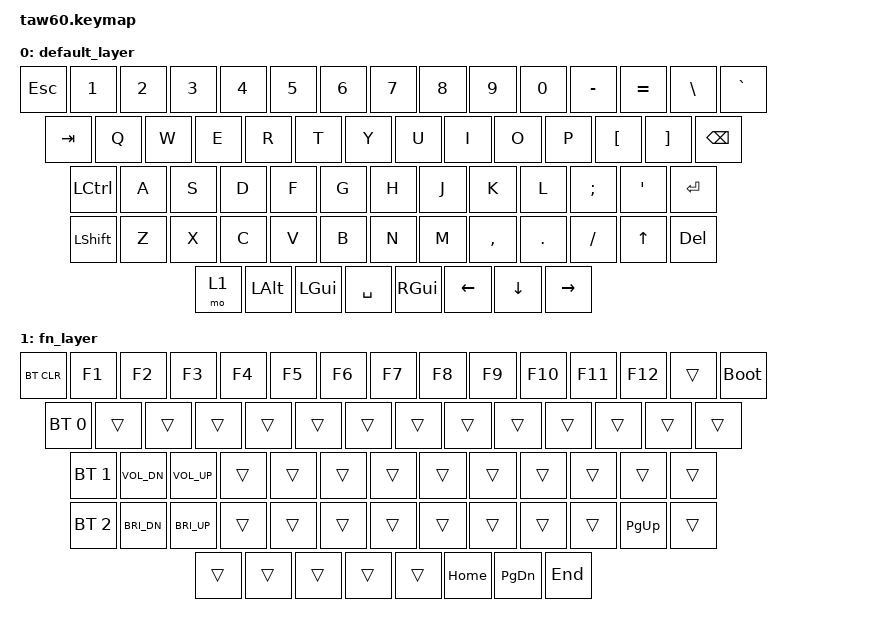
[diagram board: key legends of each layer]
/*
 * Copyright (c) 2021 The ZMK Contributors
 *
 * SPDX-License-Identifier: MIT
 */

#include <behaviors.dtsi>
#include <dt-bindings/zmk/keys.h>
#include <dt-bindings/zmk/bt.h>

/ {
      keymap {
          compatible = "zmk,keymap";

      default_layer {
				// ------------------------------------------------------------------------------------------
				// | ESC |  1  |  2  |  3  |  4  |  5  |  6  |  7  |  8  |  9  |  0  |  -  |  =  |  \  |  `  |
				// | TAB  |  Q  |  W  |  E  |  R  |  T  |  Y  |  U  |  I  |  O  |  P  |  [  |  ]  |   BKSP   |
				// |  CTL  |  A  |  S  |  D  |  F  |  G  |  H  |  J  |  K  |  L  |  ;  |  '  |     ENTER     |
				// |  SHIFT  |  Z  |  X  |  C  |  V  |  B  |  N  |  M  |  ,  |  .  |  /  |     UP    |  DEL  |
				// |  FN  | ALT |  WIN  |              SPACE                 |   WIN    |  LT  |  DN  |  RT  |
				// ------------------------------------------------------------------------------------------
			bindings = <
				&kp ESC &kp N1 &kp N2 &kp N3 &kp N4 &kp N5 &kp N6 &kp N7 &kp N8 &kp N9 &kp N0 &kp MINUS &kp EQUAL &kp BSLH &kp GRAVE
				&kp TAB  &kp Q  &kp W  &kp E  &kp R  &kp T  &kp Y  &kp U  &kp  I  &kp  O  &kp  P  &kp  LBKT  &kp  RBKT  &kp  BSPC
				&kp LCTRL  &kp A  &kp S  &kp D  &kp F  &kp G  &kp H  &kp J  &kp  K   &kp  L  &kp  SEMI  &kp  SQT  &kp  RET
				&kp LSHFT   &kp Z  &kp X  &kp C  &kp V  &kp B  &kp N  &kp M  &kp COMMA &kp DOT &kp FSLH &kp UP &kp DEL
		   	&mo 1 	&kp LALT 	&kp LGUI            &kp SPACE                          &kp RGUI  &kp LEFT &kp DOWN &kp RIGHT
			>;
		};

    fn_layer {
		// ----------------------------------------------------------------------------------------------
		//  BT CLR | F1  | F2  | F3  | F4  | F5  | F6  | F7  | F8  | F9  | F10  | F11 | F12 |     | BOOT|
		// |   BT 1  |     |     |     |     |     |     |     |     |     |     |     |     |          |
		// |   BT2    |VL-DN|VL-UP|     |     |     |     |     |     |     |     |     |               |
		// |    BT3     |BR-DN|BR-UP|     |     |     |     |     |     |     |     |  PG-UP   |        |
		// |         |     |       |                                    |          | HOME |PG-DN | END  |
		// ----------------------------------------------------------------------------------------------
			bindings = <
				&bt BT_CLR &kp F1 &kp F2 &kp F3 &kp F4 &kp F5 &kp F6 &kp F7 &kp  F8   &kp  F9 &kp  F10  &kp F11 &kp F12 &trans &bootloader
				&bt BT_SEL 0 &trans &trans &trans &trans &trans &trans &trans &trans &trans &trans &trans &trans &trans
				&bt BT_SEL 1 &kp C_VOL_DN &kp C_VOL_UP &trans &trans &trans &trans &trans &trans &trans &trans &trans &trans
				&bt BT_SEL 2 &kp C_BRI_DN &kp C_BRI_UP &trans &trans &trans &trans &trans &trans &trans &trans &kp PG_UP &trans
				&trans &trans &trans &trans &trans &kp HOME &kp PG_DN &kp END
			>;
		};
	};
};
